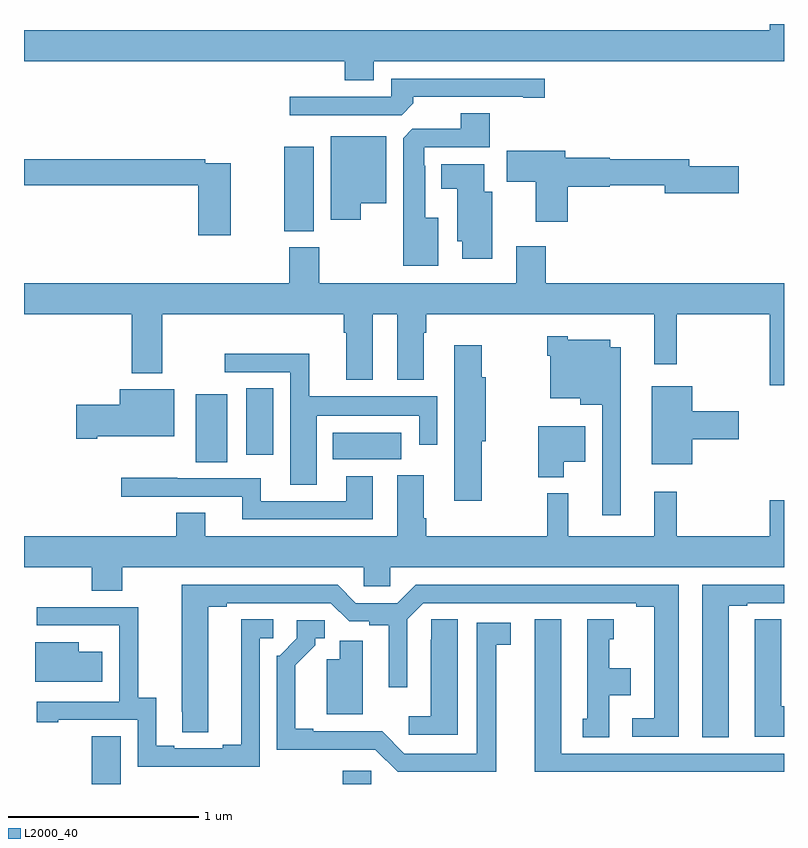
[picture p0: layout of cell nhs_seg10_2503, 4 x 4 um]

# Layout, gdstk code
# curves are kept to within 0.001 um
import gdstk
lib = gdstk.Library(unit=1e-6, precision=1e-09)
def R(c, l, rs):  # rectangles x0, y0, x1, y1
    for r in rs: c.add(gdstk.rectangle(r[:2], r[2:], *l))
def P(c, l, *ps):  # polygons
    for p in ps: c.add(gdstk.Polygon(p, *l))
L2000_40 = (2000, 40)

nhs_seg10_2503 = lib.new_cell('nhs_seg10_2503')
R(nhs_seg10_2503, L2000_40, [(245.357,1308.5,245.509,1308.752), (246.677,1308.5,246.828,1308.57), (245.903,1310.194,246.07,1310.551), (246.626,1310.21,246.985,1310.35), (246.17,1310.232,246.313,1310.582), (246.371,1311.409,246.526,1311.853)])
P(nhs_seg10_2503, L2000_40, [(246.841,1312.304),(249,1312.304),(249,1312.5),(248.924,1312.5),(248.924,1312.468),(245,1312.468),(245,1312.304),(246.689,1312.304),(246.689,1312.205),(246.841,1312.205)],
  [(247.049,1312.082),(247.049,1312.116),(247.628,1312.116),(247.628,1312.111),(247.741,1312.111),(247.741,1312.212),(246.933,1312.212),(246.933,1312.116),(246.399,1312.116),(246.399,1312.02),(246.987,1312.02)],
  [(247.18,1311.481),(247.111,1311.481),(247.111,1311.755),(247.107,1311.755),(247.107,1311.852),(247.451,1311.852),(247.451,1312.031),(247.298,1312.031),(247.298,1311.948),(247.044,1311.948),(246.995,1311.899),(246.995,1311.227),(247.18,1311.227)],
  [(246.772,1311.557),(246.907,1311.557),(246.907,1311.91),(246.614,1311.91),(246.614,1311.471),(246.772,1311.471)],
  [(247.862,1311.644),(248.082,1311.644),(248.082,1311.652),(248.372,1311.652),(248.372,1311.61),(248.761,1311.61),(248.761,1311.752),(248.5,1311.752),(248.5,1311.788),(248.082,1311.788),(248.082,1311.796),(247.849,1311.796),(247.849,1311.832),(247.542,1311.832),(247.542,1311.67),(247.694,1311.67),(247.694,1311.459),(247.862,1311.459)],
  [(246.088,1311.768),(245.954,1311.768),(245.954,1311.788),(245,1311.788),(245,1311.652),(245.918,1311.652),(245.918,1311.387),(246.088,1311.387)],
  [(247.465,1311.616),(247.423,1311.616),(247.423,1311.763),(247.196,1311.763),(247.196,1311.632),(247.28,1311.632),(247.28,1311.357),(247.307,1311.357),(247.307,1311.264),(247.465,1311.264)],
  [(249,1311.136),(247.745,1311.136),(247.745,1311.331),(247.592,1311.331),(247.592,1311.136),(246.555,1311.136),(246.555,1311.324),(246.395,1311.324),(246.395,1311.136),(245,1311.136),(245,1310.972),(245.567,1310.972),(245.567,1310.663),(245.727,1310.663),(245.727,1310.972),(246.683,1310.972),(246.683,1310.876),(246.695,1310.876),(246.695,1310.627),(246.835,1310.627),(246.835,1310.972),(246.965,1310.972),(246.965,1310.627),(247.105,1310.627),(247.105,1310.876),(247.118,1310.876),(247.118,1310.972),(248.317,1310.972),(248.317,1310.709),(248.435,1310.709),(248.435,1310.972),(248.924,1310.972),(248.924,1310.598),(249,1310.598)],
  [(248.14,1310.8),(248.086,1310.8),(248.086,1310.839),(247.863,1310.839),(247.863,1310.857),(247.755,1310.857),(247.755,1310.753),(247.769,1310.753),(247.769,1310.531),(247.928,1310.531),(247.928,1310.495),(248.043,1310.495),(248.043,1309.914),(248.14,1309.914)],
  [(247.41,1310.304),(247.431,1310.304),(247.431,1310.64),(247.41,1310.64),(247.41,1310.809),(247.265,1310.809),(247.265,1309.992),(247.41,1309.992)],
  [(246.541,1310.438),(247.08,1310.438),(247.08,1310.286),(247.176,1310.286),(247.176,1310.542),(246.5,1310.542),(246.5,1310.765),(246.057,1310.765),(246.057,1310.667),(246.401,1310.667),(246.401,1310.074),(246.541,1310.074)],
  [(248.518,1310.315),(248.761,1310.315),(248.761,1310.462),(248.518,1310.462),(248.518,1310.593),(248.303,1310.593),(248.303,1310.183),(248.518,1310.183)],
  [(245.386,1310.33),(245.791,1310.33),(245.791,1310.578),(245.504,1310.578),(245.504,1310.496),(245.274,1310.496),(245.274,1310.318),(245.386,1310.318)],
  [(247.84,1310.195),(247.954,1310.195),(247.954,1310.383),(247.706,1310.383),(247.706,1310.114),(247.84,1310.114)],
  [(246.835,1310.119),(246.695,1310.119),(246.695,1309.989),(246.247,1309.989),(246.247,1310.109),(245.807,1310.109),(245.807,1310.112),(245.511,1310.112),(245.511,1310.013),(246.149,1310.013),(246.149,1309.893),(246.835,1309.893)],
  [(246.965,1310.125),(246.965,1309.804),(245.953,1309.804),(245.953,1309.928),(245.801,1309.928),(245.801,1309.804),(245,1309.804),(245,1309.64),(245.357,1309.64),(245.357,1309.516),(245.517,1309.516),(245.517,1309.64),(246.789,1309.64),(246.789,1309.542),(246.927,1309.542),(246.927,1309.64),(249,1309.64),(249,1309.993),(248.924,1309.993),(248.924,1309.804),(248.435,1309.804),(248.435,1310.038),(248.318,1310.038),(248.318,1309.804),(247.865,1309.804),(247.865,1310.029),(247.755,1310.029),(247.755,1309.804),(247.118,1309.804),(247.118,1309.9),(247.105,1309.9),(247.105,1310.125)],
  [(248.446,1309.548),(247.061,1309.548),(246.965,1309.452),(246.747,1309.452),(246.651,1309.548),(245.831,1309.548),(245.832,1308.772),(245.971,1308.772),(245.971,1309.432),(246.067,1309.432),(246.067,1309.452),(246.615,1309.452),(246.711,1309.356),(246.816,1309.356),(246.816,1309.336),(246.92,1309.336),(246.92,1309.008),(247.017,1309.008),(247.017,1309.368),(247.101,1309.452),(248.222,1309.452),(248.222,1309.432),(248.318,1309.432),(248.318,1308.846),(248.202,1308.846),(248.202,1308.75),(248.446,1308.75)],
  [(248.71,1309.437),(248.806,1309.437),(248.806,1309.452),(249,1309.452),(249,1309.548),(248.57,1309.548),(248.57,1308.745),(248.71,1308.745)],
  [(246.24,1309.266),(246.313,1309.266),(246.313,1309.367),(246.143,1309.367),(246.143,1308.707),(246.047,1308.707),(246.047,1308.687),(245.791,1308.687),(245.791,1308.702),(245.695,1308.702),(245.695,1308.953),(245.601,1308.953),(245.601,1309.431),(245.067,1309.431),(245.067,1309.335),(245.501,1309.335),(245.501,1309.334),(245.502,1309.334),(245.502,1308.933),(245.067,1308.933),(245.067,1308.825),(245.179,1308.825),(245.179,1308.837),(245.598,1308.837),(245.598,1308.591),(246.24,1308.591)],
  [(247.282,1309.367),(247.143,1309.367),(247.143,1309.259),(247.142,1309.259),(247.142,1308.856),(247.026,1308.856),(247.026,1308.759),(247.282,1308.759)],
  [(249,1308.909),(248.986,1308.909),(248.986,1309.367),(248.847,1309.367),(248.847,1309.259),(248.846,1309.259),(248.846,1308.749),(249,1308.749)],
  [(248.08,1308.968),(248.194,1308.968),(248.194,1309.108),(248.08,1309.108),(248.08,1309.263),(248.104,1309.263),(248.104,1309.366),(247.964,1309.366),(247.964,1308.843),(247.94,1308.843),(247.94,1308.745),(248.08,1308.745)],
  [(249,1308.66),(247.828,1308.66),(247.828,1309.366),(247.688,1309.366),(247.688,1308.564),(249,1308.564)],
  [(247.486,1309.234),(247.561,1309.234),(247.561,1309.35),(247.382,1309.35),(247.382,1308.66),(247.002,1308.66),(246.885,1308.777),(246.523,1308.777),(246.523,1308.79),(246.427,1308.79),(246.427,1309.126),(246.532,1309.231),(246.532,1309.266),(246.582,1309.266),(246.582,1309.362),(246.435,1309.362),(246.435,1309.266),(246.345,1309.176),(246.33,1309.176),(246.33,1308.68),(246.849,1308.681),(246.966,1308.564),(247.486,1308.564)],
  [(246.784,1309.254),(246.662,1309.254),(246.662,1309.156),(246.593,1309.156),(246.593,1308.866),(246.784,1308.866)],
  [(245.413,1309.195),(245.287,1309.195),(245.287,1309.246),(245.06,1309.246),(245.06,1309.037),(245.413,1309.037)])

lib.write_gds('nhs_seg10_2503.gds')
